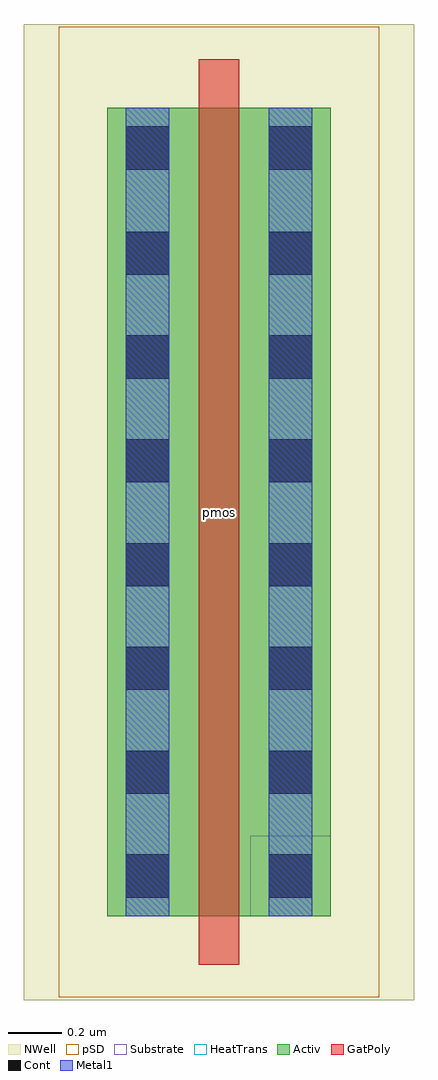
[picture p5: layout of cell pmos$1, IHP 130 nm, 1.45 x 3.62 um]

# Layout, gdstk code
import gdstk
lib = gdstk.Library(unit=1e-6, precision=1e-09)
def R(c, l, rs):  # rectangles x0, y0, x1, y1
    for r in rs: c.add(gdstk.rectangle(r[:2], r[2:], *l))
def A(c, l, x, y, w, h, nx, ny, dx, dy):  # array of equal rectangles
    R(c, l, [(x+i*dx, y+j*dy, x+i*dx+w, y+j*dy+h) for i in range(nx) for j in range(ny)])
Activ = (1, 0)
GatPoly = (5, 0)
Cont = (6, 0)
Metal1 = (8, 0)
pSD = (14, 0)
NWell = (31, 0)
Substrate = (40, 0)
HeatTrans = (51, 0)

pmos_1 = lib.new_cell('pmos$1')
R(pmos_1, Activ, [(0,0,0.3,0.3), (0,0,0.83,3), (0.53,0,0.83,0.3)])
R(pmos_1, GatPoly, [(0.34,-0.18,0.49,3.18), (0.34,-0.18,0.49,3.18)])
A(pmos_1, Cont, 0.07, 0.07, 0.16, 0.16, 1, 7, 0, 0.385)
A(pmos_1, Cont, 0.6, 0.07, 0.16, 0.16, 1, 7, 0, 0.385)
R(pmos_1, Cont, [(0.07,2.77,0.23,2.93), (0.6,2.77,0.76,2.93)])
R(pmos_1, Metal1, [(0.07,0,0.23,3), (0.07,0,0.23,3), (0.6,0,0.76,3), (0.6,0,0.76,3)])
R(pmos_1, pSD, [(-0.18,-0.3,1.01,3.3)])
R(pmos_1, NWell, [(-0.31,-0.31,1.14,3.31)])
R(pmos_1, Substrate, [(0.53,0,0.83,0.3)])
R(pmos_1, HeatTrans, [(0.34,-0.18,0.49,3.18)])
pmos_1.add(gdstk.Label('pmos', (0.415,1.5), layer=63, texttype=0))
pmos_1.add(gdstk.Label('pmos', (0.415,1.5), layer=51, texttype=0))

lib.write_gds('pmos_1.gds')
